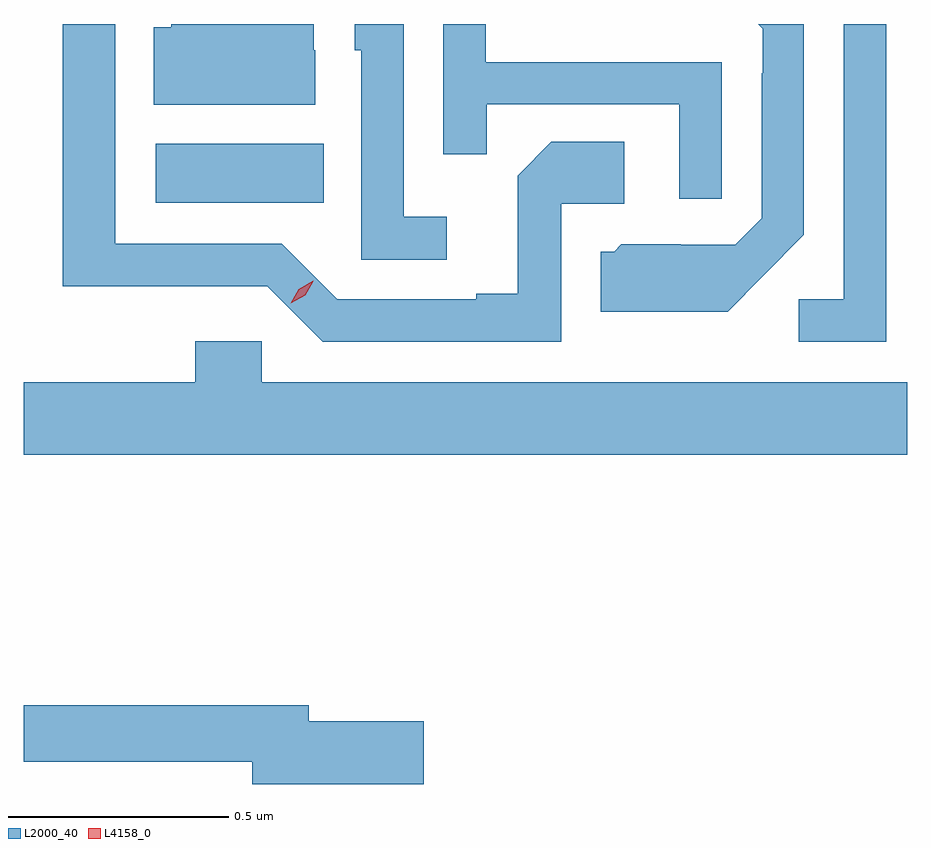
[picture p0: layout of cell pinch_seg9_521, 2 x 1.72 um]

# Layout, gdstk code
import gdstk
lib = gdstk.Library(unit=1e-6, precision=1e-09)
def R(c, l, rs):  # rectangles x0, y0, x1, y1
    for r in rs: c.add(gdstk.rectangle(r[:2], r[2:], *l))
def P(c, l, *ps):  # polygons
    for p in ps: c.add(gdstk.Polygon(p, *l))
L2000_40 = (2000, 40)
L4158_0 = (4158, 0)

pinch_seg9_521 = lib.new_cell('pinch_seg9_521')
R(pinch_seg9_521, L2000_40, [(314.088,1200.986,314.468,1201.12)])
P(pinch_seg9_521, L2000_40, [(315.741,1201.391),(315.645,1201.391),(315.645,1200.768),(315.543,1200.768),(315.543,1200.672),(315.741,1200.672)],
  [(314.746,1200.955),(314.649,1200.955),(314.649,1201.391),(314.538,1201.391),(314.538,1201.332),(314.553,1201.332),(314.553,1200.858),(314.746,1200.858)],
  [(314.449,1201.332),(314.445,1201.332),(314.445,1201.391),(314.123,1201.391),(314.123,1201.384),(314.084,1201.384),(314.084,1201.208),(314.449,1201.208)],
  [(315.369,1201.305),(314.835,1201.305),(314.835,1201.391),(314.739,1201.391),(314.739,1201.096),(314.837,1201.096),(314.837,1201.209),(315.273,1201.209),(315.273,1200.996),(315.369,1200.996)],
  [(315.006,1200.984),(315.148,1200.984),(315.148,1201.124),(314.983,1201.124),(314.907,1201.048),(314.907,1200.781),(314.813,1200.781),(314.813,1200.768),(314.499,1200.768),(314.373,1200.894),(313.996,1200.894),(313.996,1201.391),(313.878,1201.391),(313.878,1200.797),(314.118,1200.797),(314.118,1200.798),(314.34,1200.798),(314.466,1200.672),(315.006,1200.672)],
  [(315.463,1200.821),(315.555,1200.914),(315.555,1201.391),(315.451,1201.391),(315.462,1201.38),(315.462,1201.28),(315.459,1201.28),(315.459,1200.951),(315.399,1200.891),(315.276,1200.891),(315.276,1200.892),(315.142,1200.892),(315.126,1200.876),(315.095,1200.876),(315.095,1200.74),(315.383,1200.74)],
  [(315.789,1200.58),(314.328,1200.58),(314.328,1200.673),(314.177,1200.673),(314.177,1200.58),(313.789,1200.58),(313.789,1200.416),(315.789,1200.416)],
  [(314.695,1199.813),(314.434,1199.813),(314.434,1199.849),(313.789,1199.849),(313.789,1199.721),(314.306,1199.721),(314.306,1199.671),(314.695,1199.671)])
P(pinch_seg9_521, L4158_0, [(314.394,1200.759),(314.394,1200.759),(314.412,1200.791),(314.444,1200.81),(314.444,1200.81),(314.444,1200.809),(314.426,1200.777),(314.394,1200.759)])

lib.write_gds('pinch_seg9_521.gds')
